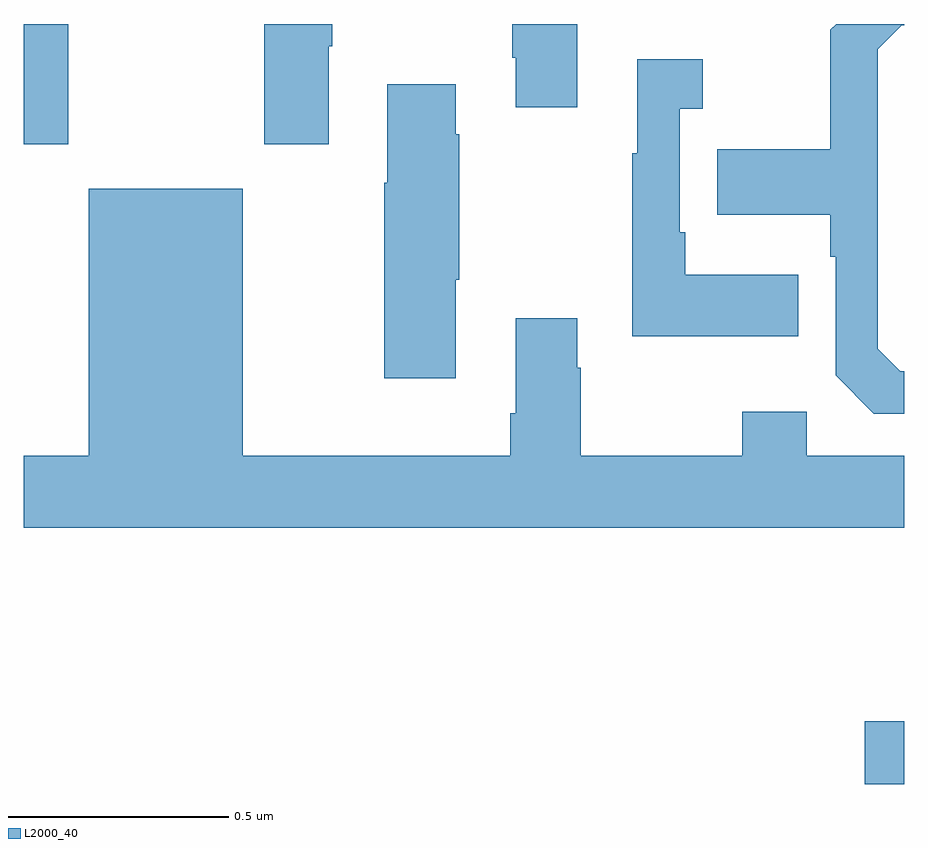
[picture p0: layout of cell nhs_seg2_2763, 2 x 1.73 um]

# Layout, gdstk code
import gdstk
lib = gdstk.Library(unit=1e-6, precision=1e-09)
def R(c, l, rs):  # rectangles x0, y0, x1, y1
    for r in rs: c.add(gdstk.rectangle(r[:2], r[2:], *l))
def P(c, l, *ps):  # polygons
    for p in ps: c.add(gdstk.Polygon(p, *l))
L2000_40 = (2000, 40)

nhs_seg2_2763 = lib.new_cell('nhs_seg2_2763')
R(nhs_seg2_2763, L2000_40, [(146.91,627.074,147,627.216), (145,628.527,145.101,628.8)])
P(nhs_seg2_2763, L2000_40, [(145.693,628.75),(145.701,628.75),(145.701,628.8),(145.546,628.8),(145.546,628.527),(145.693,628.527)],
  [(146.257,628.8),(146.11,628.8),(146.11,628.723),(146.117,628.723),(146.117,628.611),(146.257,628.611)],
  [(147,628.011),(146.991,628.011),(146.94,628.062),(146.94,628.743),(146.994,628.797),(147,628.797),(147,628.8),(146.845,628.8),(146.832,628.787),(146.832,628.515),(146.575,628.515),(146.575,628.367),(146.832,628.367),(146.832,628.271),(146.844,628.271),(146.844,628.002),(146.931,627.915),(147,627.915)],
  [(146.759,628.231),(146.503,628.231),(146.503,628.327),(146.49,628.327),(146.49,628.607),(146.542,628.607),(146.542,628.72),(146.393,628.72),(146.393,628.507),(146.382,628.507),(146.382,628.091),(146.759,628.091)],
  [(145.981,628.219),(145.989,628.219),(145.989,628.55),(145.981,628.55),(145.981,628.663),(145.826,628.663),(145.826,628.439),(145.819,628.439),(145.819,627.996),(145.981,627.996)],
  [(147,627.82),(146.778,627.82),(146.778,627.919),(146.632,627.919),(146.632,627.82),(146.265,627.82),(146.265,628.019),(146.257,628.019),(146.257,628.132),(146.117,628.132),(146.117,627.916),(146.105,627.916),(146.105,627.82),(145.498,627.82),(145.498,628.426),(145.148,628.426),(145.148,627.82),(145,627.82),(145,627.656),(147,627.656)])

lib.write_gds('nhs_seg2_2763.gds')
